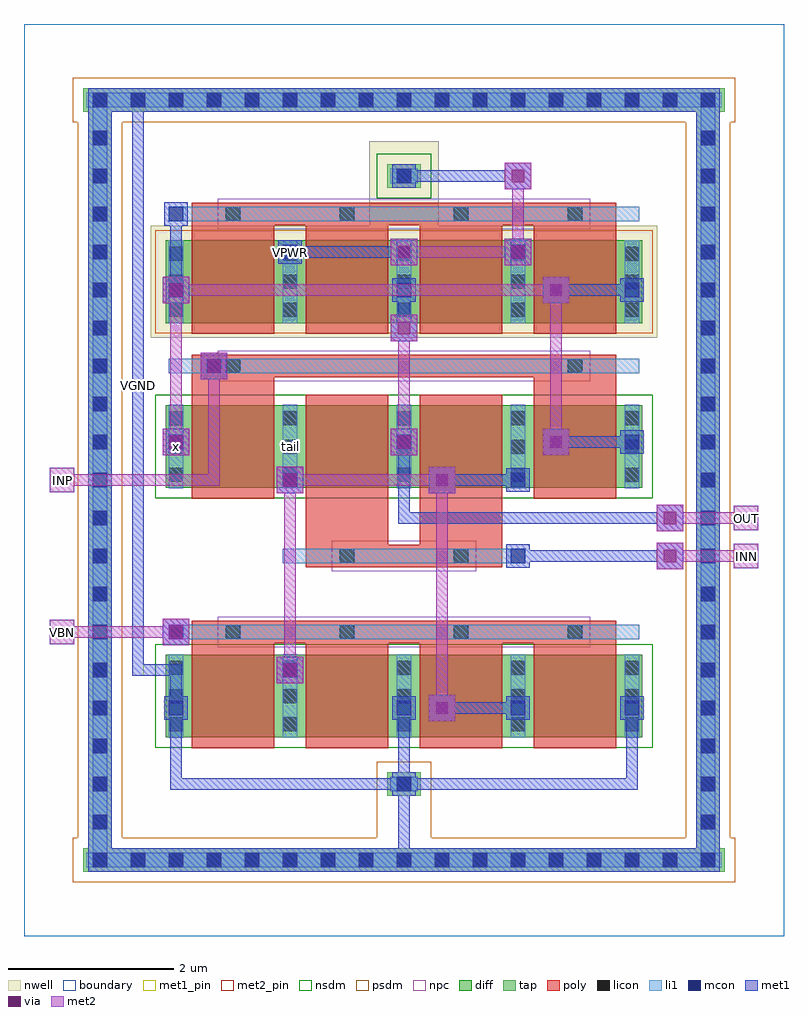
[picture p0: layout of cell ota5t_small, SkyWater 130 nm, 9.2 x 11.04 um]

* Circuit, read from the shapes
.subckt ota5t_small INN INP OUT VBN VGND VPWR tail x
XM1 tail VBN VGND VGND sky130_fd_pr__nfet_01v8 w=1 l=1 m=4
XM2 tail INP x VGND sky130_fd_pr__nfet_01v8 w=1 l=1 m=2
XM3 OUT INN tail VGND sky130_fd_pr__nfet_01v8 w=1 l=1 m=2
XM4 VPWR x x VPWR sky130_fd_pr__pfet_01v8 w=1 l=1 m=2
XM5 OUT x VPWR VPWR sky130_fd_pr__pfet_01v8 w=1 l=1 m=2
.ends

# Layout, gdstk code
import gdstk
lib = gdstk.Library(unit=1e-6, precision=1e-09)
def R(c, l, rs):  # rectangles x0, y0, x1, y1
    for r in rs: c.add(gdstk.rectangle(r[:2], r[2:], *l))
def A(c, l, x, y, w, h, nx, ny, dx, dy):  # array of equal rectangles
    R(c, l, [(x+i*dx, y+j*dy, x+i*dx+w, y+j*dy+h) for i in range(nx) for j in range(ny)])
nwell = (64, 20)
diff = (65, 20)
tap = (65, 44)
poly = (66, 20)
licon = (66, 44)
li1 = (67, 20)
mcon = (67, 44)
met1_pin = (68, 16)
met1 = (68, 20)
via = (68, 44)
met2_pin = (69, 16)
met2 = (69, 20)
nsdm = (93, 44)
psdm = (94, 20)
npc = (95, 20)
boundary = (235, 4)

ota5t_small = lib.new_cell('ota5t_small')
R(ota5t_small, nwell, [(1.535,7.24,7.665,8.6), (4.18,8.6,5.02,9.62)])
R(ota5t_small, diff, [(1.715,2.405,7.485,3.405), (1.715,5.425,7.485,6.425), (1.715,7.42,7.485,8.42)])
R(ota5t_small, tap, [(0.715,0.775,8.485,1.065), (0.775,0.775,1.065,10.265), (8.135,0.775,8.425,10.265), (4.395,1.695,4.805,1.985), (4.395,9.055,4.805,9.345), (0.715,9.975,8.485,10.265)])
A(ota5t_small, poly, 2.03, 2.275, 1, 1.405, 4, 1, 1.38, 0)
A(ota5t_small, poly, 2.03, 7.29, 1, 1.45, 4, 1, 1.38, 0)
R(ota5t_small, poly, [(2.03,3.545,7.17,3.815), (3.41,4.465,5.79,4.735), (3.41,4.6,4.41,6.555), (4.79,4.6,5.79,6.555), (2.03,5.295,3.03,6.9), (6.17,5.295,7.17,6.9), (2.03,6.765,7.17,7.035), (2.03,8.605,7.17,8.875)])
A(ota5t_small, licon, 0.835, 0.835, 0.17, 0.17, 17, 2, 0.46, 9.2)
A(ota5t_small, licon, 0.835, 1.755, 0.17, 0.17, 3, 2, 3.68, 7.36)
A(ota5t_small, licon, 0.835, 2.215, 0.17, 0.17, 1, 15, 0, 0.46)
A(ota5t_small, licon, 8.195, 2.215, 0.17, 0.17, 1, 15, 0, 0.46)
A(ota5t_small, licon, 1.755, 2.48, 0.17, 0.17, 5, 3, 1.38, 0.34)
A(ota5t_small, licon, 2.445, 3.595, 0.17, 0.17, 4, 2, 1.38, 5.06)
A(ota5t_small, licon, 1.755, 5.5, 0.17, 0.17, 5, 3, 1.38, 0.34)
A(ota5t_small, licon, 1.755, 7.495, 0.17, 0.17, 5, 3, 1.38, 0.34)
R(ota5t_small, licon, [(0.835,1.295,1.005,1.465), (8.195,1.295,8.365,1.465), (3.825,4.515,3.995,4.685), (5.205,4.515,5.375,4.685), (2.445,6.815,2.615,6.985), (6.585,6.815,6.755,6.985), (0.835,9.575,1.005,9.745), (8.195,9.575,8.365,9.745)])
A(ota5t_small, li1, 1.755, 2.4, 0.17, 1.01, 5, 2, 1.38, 3.02)
A(ota5t_small, li1, 1.755, 7.415, 0.17, 1.01, 5, 1, 1.38, 0)
R(ota5t_small, li1, [(0.755,0.835,8.445,1.005), (0.835,0.835,1.005,10.205), (8.195,0.835,8.365,10.205), (4.435,1.755,4.765,1.925), (1.755,3.595,7.445,3.765), (3.135,4.515,6.065,4.685), (1.755,6.815,7.445,6.985), (1.755,8.655,7.445,8.825), (4.435,9.115,4.765,9.285), (0.755,10.035,8.445,10.205)])
A(ota5t_small, mcon, 0.835, 0.835, 0.17, 0.17, 17, 2, 0.46, 9.2)
A(ota5t_small, mcon, 0.835, 1.755, 0.17, 0.17, 3, 2, 3.68, 7.36)
A(ota5t_small, mcon, 0.835, 2.215, 0.17, 0.17, 1, 15, 0, 0.46)
A(ota5t_small, mcon, 8.195, 2.215, 0.17, 0.17, 1, 15, 0, 0.46)
A(ota5t_small, mcon, 4.515, 2.675, 0.17, 0.17, 3, 1, 1.38, 0)
A(ota5t_small, mcon, 1.755, 5.895, 0.17, 0.17, 3, 2, 2.76, 1.84)
R(ota5t_small, mcon, [(0.835,1.295,1.005,1.465), (8.195,1.295,8.365,1.465), (1.755,2.675,1.925,2.845), (3.135,3.135,3.305,3.305), (1.755,3.595,1.925,3.765), (5.895,4.515,6.065,4.685), (3.135,5.435,3.305,5.605), (5.895,5.435,6.065,5.605), (2.215,6.815,2.385,6.985), (3.135,8.195,3.305,8.365), (5.895,8.195,6.065,8.365), (1.755,8.655,1.925,8.825), (0.835,9.575,1.005,9.745), (8.195,9.575,8.365,9.745)])
R(ota5t_small, met1_pin, [(1.31,3.15,1.45,10.19), (3.075,8.135,3.365,8.425)])
A(ota5t_small, met1, 1.77, 1.77, 0.14, 1.06, 3, 1, 2.76, 0)
A(ota5t_small, met1, 4.455, 2.615, 0.29, 0.29, 3, 1, 1.38, 0)
A(ota5t_small, met1, 1.695, 5.835, 0.29, 0.29, 3, 2, 2.76, 1.84)
R(ota5t_small, met1, [(0.775,0.775,8.425,1.065), (0.775,0.775,1.065,10.265), (8.135,0.775,8.425,10.265), (4.53,0.85,4.67,1.91), (4.53,0.85,4.67,0.99), (4.455,1.695,4.745,1.985), (1.77,1.77,4.67,1.91), (4.53,1.77,4.67,1.91), (4.53,1.77,7.43,1.91), (4.9,2.6,5.22,2.92), (1.695,2.615,1.985,2.905), (1.77,2.69,1.91,3.29), (4.99,2.69,6.05,2.83), (3.06,3.06,3.38,3.38), (3.075,3.075,3.365,3.365), (1.31,3.15,1.91,3.29), (1.31,3.15,1.45,10.19), (1.68,3.52,2,3.84), (1.695,3.535,1.985,3.825), (7.66,4.44,7.98,4.76), (5.835,4.455,6.125,4.745), (5.91,4.53,7.89,4.67), (7.66,4.9,7.98,5.22), (4.53,4.99,4.67,6.05), (4.53,4.99,7.89,5.13), (3.06,5.36,3.38,5.68), (4.9,5.36,5.22,5.68), (3.075,5.375,3.365,5.665), (5.835,5.375,6.125,5.665), (4.99,5.45,6.05,5.59), (1.68,5.82,2,6.14), (4.44,5.82,4.76,6.14), (6.28,5.82,6.6,6.14), (6.37,5.91,7.43,6.05), (2.14,6.74,2.46,7.06), (2.155,6.755,2.445,7.045), (4.44,7.2,4.76,7.52), (4.53,7.29,4.67,7.89), (1.68,7.66,2,7.98), (6.28,7.66,6.6,7.98), (1.77,7.75,1.91,8.81), (6.37,7.75,7.43,7.89), (4.44,8.12,4.76,8.44), (5.82,8.12,6.14,8.44), (3.075,8.135,3.365,8.425), (5.835,8.135,6.125,8.425), (3.15,8.21,4.67,8.35), (1.695,8.595,1.985,8.885), (5.82,9.04,6.14,9.36), (4.455,9.055,4.745,9.345), (4.53,9.13,4.67,9.27), (4.53,9.13,6.05,9.27), (0.775,9.975,8.425,10.265), (1.31,10.05,1.45,10.19)])
R(ota5t_small, via, [(4.985,2.685,5.135,2.835), (3.145,3.145,3.295,3.295), (1.765,3.605,1.915,3.755), (7.745,4.525,7.895,4.675), (7.745,4.985,7.895,5.135), (3.145,5.445,3.295,5.595), (4.985,5.445,5.135,5.595), (1.765,5.905,1.915,6.055), (4.525,5.905,4.675,6.055), (6.365,5.905,6.515,6.055), (2.225,6.825,2.375,6.975), (4.525,7.285,4.675,7.435), (1.765,7.745,1.915,7.895), (6.365,7.745,6.515,7.895), (4.525,8.205,4.675,8.355), (5.905,8.205,6.055,8.355), (5.905,9.125,6.055,9.275)])
R(ota5t_small, met2_pin, [(0.31,3.53,0.61,3.83), (8.59,4.45,8.89,4.75), (8.59,4.91,8.89,5.21), (0.31,5.37,0.61,5.67)])
R(ota5t_small, met2, [(4.9,2.6,5.22,2.92), (4.99,2.69,5.13,5.59), (3.06,3.06,3.38,3.38), (3.15,3.15,3.29,5.59), (1.68,3.52,2,3.84), (0.31,3.53,0.61,3.83), (0.39,3.61,1.91,3.75), (0.39,3.61,0.53,3.75), (7.66,4.44,7.98,4.76), (8.59,4.45,8.89,4.75), (7.75,4.53,8.81,4.67), (8.67,4.53,8.81,4.67), (7.66,4.9,7.98,5.22), (8.59,4.91,8.89,5.21), (7.75,4.99,8.81,5.13), (8.67,4.99,8.81,5.13), (3.06,5.36,3.38,5.68), (4.9,5.36,5.22,5.68), (0.31,5.37,0.61,5.67), (0.39,5.45,2.37,5.59), (0.39,5.45,0.53,5.59), (2.23,5.45,2.37,6.97), (3.15,5.45,5.13,5.59), (1.68,5.82,2,6.14), (4.44,5.82,4.76,6.14), (6.28,5.82,6.6,6.14), (1.77,5.91,1.91,7.89), (4.53,5.91,4.67,7.43), (6.37,5.91,6.51,7.89), (2.14,6.74,2.46,7.06), (4.44,7.2,4.76,7.52), (1.68,7.66,2,7.98), (6.28,7.66,6.6,7.98), (1.77,7.75,6.51,7.89), (4.44,8.12,4.76,8.44), (5.82,8.12,6.14,8.44), (4.53,8.21,6.05,8.35), (5.91,8.21,6.05,9.27), (5.82,9.04,6.14,9.36)])
R(ota5t_small, nsdm, [(1.59,2.28,7.61,3.53), (1.59,5.3,7.61,6.55), (4.27,8.93,4.93,9.47)])
R(ota5t_small, psdm, [(0.59,0.65,8.61,1.19), (0.65,1.19,1.19,9.85), (4.27,1.19,4.93,2.11), (8.01,1.19,8.55,9.85), (1.59,7.295,7.61,8.545), (0.59,9.85,8.61,10.39)])
R(ota5t_small, npc, [(2.345,3.495,6.855,3.865), (3.725,4.415,5.475,4.785), (2.345,6.715,6.855,7.085), (2.345,8.555,6.855,8.925)])
R(ota5t_small, boundary, [(0,0,9.2,11.04)])
ota5t_small.add(gdstk.Label('x', (1.84,5.925), layer=67, texttype=5))
ota5t_small.add(gdstk.Label('tail', (3.22,5.925), layer=67, texttype=5))
ota5t_small.add(gdstk.Label('VPWR', (3.22,8.28), layer=68, texttype=5))
ota5t_small.add(gdstk.Label('VGND', (1.38,6.67), layer=68, texttype=5))
ota5t_small.add(gdstk.Label('INP', (0.46,5.52), layer=69, texttype=5))
ota5t_small.add(gdstk.Label('INN', (8.74,4.6), layer=69, texttype=5))
ota5t_small.add(gdstk.Label('VBN', (0.46,3.68), layer=69, texttype=5))
ota5t_small.add(gdstk.Label('OUT', (8.74,5.06), layer=69, texttype=5))
ota5t_small.add(gdstk.Label('VPWR', (3.22,8.28), layer=68, texttype=16))
ota5t_small.add(gdstk.Label('VGND', (1.38,6.67), layer=68, texttype=16))
ota5t_small.add(gdstk.Label('INP', (0.46,5.52), layer=69, texttype=16))
ota5t_small.add(gdstk.Label('INN', (8.74,4.6), layer=69, texttype=16))
ota5t_small.add(gdstk.Label('VBN', (0.46,3.68), layer=69, texttype=16))
ota5t_small.add(gdstk.Label('OUT', (8.74,5.06), layer=69, texttype=16))

lib.write_gds('ota5t_small.gds')
